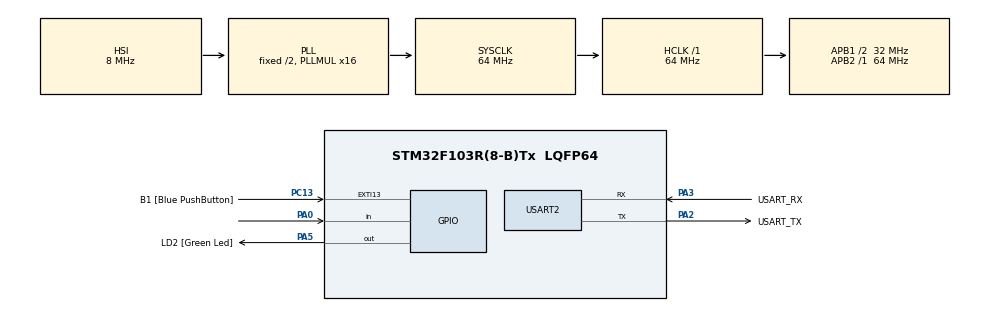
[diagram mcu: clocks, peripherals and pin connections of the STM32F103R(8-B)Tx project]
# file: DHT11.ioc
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Mcu.Family=STM32F1
Mcu.Name=STM32F103R(8-B)Tx
Mcu.Package=LQFP64
NVIC.EXTI15_10_IRQn=true\:0\:0\:false\:false\:true\:true\:true\:true
NVIC.PriorityGroup=NVIC_PRIORITYGROUP_4
PA0-WKUP.Signal=GPIO_Input
PA13.GPIO_Label=TMS
PA13.Mode=Serial_Wire
PA13.Signal=SYS_JTMS-SWDIO
PA14.GPIO_Label=TCK
PA14.Mode=Serial_Wire
PA14.Signal=SYS_JTCK-SWCLK
PA2.GPIO_Label=USART_TX
PA2.GPIO_Mode=GPIO_MODE_AF_PP
PA2.GPIO_PuPd=GPIO_NOPULL
PA2.GPIO_Speed=GPIO_SPEED_FREQ_LOW
PA2.Mode=Asynchronous
PA2.Signal=USART2_TX
PA3.GPIO_Label=USART_RX
PA3.GPIO_Mode=GPIO_MODE_AF_PP
PA3.GPIO_PuPd=GPIO_NOPULL
PA3.GPIO_Speed=GPIO_SPEED_FREQ_LOW
PA3.Mode=Asynchronous
PA3.Signal=USART2_RX
PA5.GPIO_Label=LD2 [Green Led]
PA5.GPIO_ModeDefaultOutputPP=GPIO_MODE_OUTPUT_PP
PA5.GPIO_PuPd=GPIO_NOPULL
PA5.GPIO_Speed=GPIO_SPEED_FREQ_LOW
PA5.Signal=GPIO_Output
PB3.GPIO_Label=SWO
PB3.Signal=SYS_JTDO-TRACESWO
PC13-TAMPER-RTC.GPIO_Label=B1 [Blue PushButton]
PC13-TAMPER-RTC.GPIO_PuPd=GPIO_NOPULL
PC13-TAMPER-RTC.Signal=GPXTI13
PC14-OSC32_IN.Signal=RCC_OSC32_IN
PC15-OSC32_OUT.Signal=RCC_OSC32_OUT
PD0-OSC_IN.Signal=RCC_OSC_IN
PD1-OSC_OUT.Signal=RCC_OSC_OUT
ProjectManager.HeapSize=0x200
ProjectManager.StackSize=0x400
ProjectManager.TargetToolchain=STM32CubeIDE
RCC.AHBFreq_Value=64000000
RCC.APB1CLKDivider=RCC_HCLK_DIV2
RCC.APB1Freq_Value=32000000
RCC.APB1TimFreq_Value=64000000
RCC.APB2Freq_Value=64000000
RCC.APB2TimFreq_Value=64000000
RCC.HCLKFreq_Value=64000000
RCC.PLLMUL=RCC_PLL_MUL16
RCC.RTCClockSelection=RCC_RTCCLKSOURCE_LSE
RCC.SYSCLKFreq_VALUE=64000000
RCC.SYSCLKSource=RCC_SYSCLKSOURCE_PLLCLK
RCC.USBFreq_Value=64000000
TIM2.Prescaler=64-1
USART2.VirtualMode=VM_ASYNC
VP_TIM2_VS_ClockSourceINT.Mode=Internal
board=NUCLEO-F103RB

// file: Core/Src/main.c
/* USER CODE BEGIN Header */
/**
  ******************************************************************************
  * @file           : main.c
  * @brief          : Main program body
  ******************************************************************************
  * @attention
  *
  * Copyright (c) 2025 STMicroelectronics.
  * All rights reserved.
  *
  * This software is licensed under terms that can be found in the LICENSE file
  * in the root directory of this software component.
  * If no LICENSE file comes with this software, it is provided AS-IS.
  *
  ******************************************************************************
  */
/* USER CODE END Header */
#include "main.h"

/* USER CODE BEGIN Includes */
#include <stdio.h>
#include <string.h>
/* USER CODE END Includes */

/* USER CODE BEGIN PTD */
typedef struct {
    uint8_t temperature;
    uint8_t humidity;
    uint8_t temp_decimal;
    uint8_t hum_decimal;
    uint8_t checksum;
} DHT11_Data;
/* USER CODE END PTD */

/* USER CODE BEGIN PD */

#define DHT11_PORT GPIOA
#define DHT11_PIN GPIO_PIN_0
/* USER CODE END PD */

TIM_HandleTypeDef htim2;

UART_HandleTypeDef huart2;

/* USER CODE BEGIN PV */
DHT11_Data dht11_data;
char uart_buffer[100];  // uart_buffer 변수 선언 추가
/* USER CODE END PV */

void SystemClock_Config(void);
static void MX_GPIO_Init(void);
static void MX_USART2_UART_Init(void);
static void MX_TIM2_Init(void);
/* USER CODE BEGIN PFP */
void DHT11_SetPinOutput(void);
void DHT11_SetPinInput(void);
void DHT11_SetPin(GPIO_PinState state);
GPIO_PinState DHT11_ReadPin(void);
void DHT11_DelayUs(uint32_t us);
uint8_t DHT11_Start(void);
uint8_t DHT11_ReadBit(void);
uint8_t DHT11_ReadByte(void);
uint8_t DHT11_ReadData(DHT11_Data *data);
/* USER CODE END PFP */

/* USER CODE BEGIN 0 */
#ifdef __GNUC__
/* With GCC, small printf (option LD Linker->Libraries->Small printf
   set to 'Yes') calls __io_putchar() */
#define PUTCHAR_PROTOTYPE int __io_putchar(int ch)
#else
#define PUTCHAR_PROTOTYPE int fputc(int ch, FILE *f)
#endif /* __GNUC__ */

/**
  * @brief  Retargets the C library printf function to the USART.
  * @param  None
  * @retval None
  */
PUTCHAR_PROTOTYPE
{
  /* Place your implementation of fputc here */
  /* e.g. write a character to the USART1 and Loop until the end of transmission */
  if (ch == '\n')
    HAL_UART_Transmit (&huart2, (uint8_t*) "\r", 1, 0xFFFF);
  HAL_UART_Transmit (&huart2, (uint8_t*) &ch, 1, 0xFFFF);

  return ch;
}
// DHT11 함수 구현
void DHT11_SetPinOutput(void) {
    GPIO_InitTypeDef GPIO_InitStruct = {0};
    GPIO_InitStruct.Pin = DHT11_PIN;
    GPIO_InitStruct.Mode = GPIO_MODE_OUTPUT_PP;
    GPIO_InitStruct.Pull = GPIO_NOPULL;
    GPIO_InitStruct.Speed = GPIO_SPEED_FREQ_HIGH;
    HAL_GPIO_Init(DHT11_PORT, &GPIO_InitStruct);
}

void DHT11_SetPinInput(void) {
    GPIO_InitTypeDef GPIO_InitStruct = {0};
    GPIO_InitStruct.Pin = DHT11_PIN;
    GPIO_InitStruct.Mode = GPIO_MODE_INPUT;
    GPIO_InitStruct.Pull = GPIO_PULLUP;
    HAL_GPIO_Init(DHT11_PORT, &GPIO_InitStruct);
}

void DHT11_SetPin(GPIO_PinState state) {
    HAL_GPIO_WritePin(DHT11_PORT, DHT11_PIN, state);
}

GPIO_PinState DHT11_ReadPin(void) {
    return HAL_GPIO_ReadPin(DHT11_PORT, DHT11_PIN);
}

void DHT11_DelayUs(uint32_t us) {
    __HAL_TIM_SET_COUNTER(&htim2, 0);
    while (__HAL_TIM_GET_COUNTER(&htim2) < us);
}

uint8_t DHT11_Start(void) {
    uint8_t response = 0;

    // 출력 모드로 설정
    DHT11_SetPinOutput();

    // 시작 신호 전송 (18ms LOW)
    DHT11_SetPin(GPIO_PIN_RESET);
    HAL_Delay(20);  // 18ms -> 20ms로 변경 (더 안정적)

    // HIGH로 변경 후 20-40us 대기
    DHT11_SetPin(GPIO_PIN_SET);
    DHT11_DelayUs(30);

    // 입력 모드로 변경
    DHT11_SetPinInput();

    // DHT11 응답 확인 (80us LOW + 80us HIGH)
    DHT11_DelayUs(40);

    if (!(DHT11_ReadPin())) {
        DHT11_DelayUs(80);
        if (DHT11_ReadPin()) {
            response = 1;
        } else {
            response = 0;
        }
    }

    // HIGH가 끝날 때까지 대기
    while (DHT11_ReadPin());

    return response;
}

uint8_t DHT11_ReadBit(void) {
    // LOW 신호가 끝날 때까지 대기 (50us)
    while (!(DHT11_ReadPin()));

    // HIGH 신호 시작 후 30us 대기
    DHT11_DelayUs(30);

    // 여전히 HIGH면 1, LOW면 0
    if (DHT11_ReadPin()) {
        // HIGH가 끝날 때까지 대기
        while (DHT11_ReadPin());
        return 1;
    } else {
        return 0;
    }
}

uint8_t DHT11_ReadByte(void) {
    uint8_t byte = 0;
    for (int i = 0; i < 8; i++) {
        byte = (byte << 1) | DHT11_ReadBit();
    }
    return byte;
}

uint8_t DHT11_ReadData(DHT11_Data *data) {
    if (!DHT11_Start()) {
        return 0; // 시작 신호 실패
    }

    // 5바이트 데이터 읽기
    data->humidity = DHT11_ReadByte();
    data->hum_decimal = DHT11_ReadByte();
    data->temperature = DHT11_ReadByte();
    data->temp_decimal = DHT11_ReadByte();
    data->checksum = DHT11_ReadByte();

    // 체크섬 확인
    uint8_t calculated_checksum = data->humidity + data->hum_decimal +
                                 data->temperature + data->temp_decimal;

    if (calculated_checksum == data->checksum) {
        return 1; // 성공
    } else {
        return 0; // 체크섬 오류
    }
}
/* USER CODE END 0 */

int main(void)
{

  /* MCU Configuration--------------------------------------------------------*/

  /* Reset of all peripherals, Initializes the Flash interface and the Systick. */
  HAL_Init();

  /* Configure the system clock */
  SystemClock_Config();

  /* Initialize all configured peripherals */
  MX_GPIO_Init();
  MX_USART2_UART_Init();
  MX_TIM2_Init();
  /* USER CODE BEGIN 2 */
  // 타이머 시작 (마이크로초 단위 지연용)
  HAL_TIM_Base_Start(&htim2);

  // UART 초기화 메시지
  sprintf(uart_buffer, "DHT11 Temperature & Humidity Sensor Test\r\n");
  HAL_UART_Transmit(&huart2, (uint8_t*)uart_buffer, strlen(uart_buffer), HAL_MAX_DELAY);
  /* USER CODE END 2 */

  /* Infinite loop */
  while (1)
  {

    /* USER CODE BEGIN 3 */
	  if (DHT11_ReadData(&dht11_data)) {
	 	      // 데이터 읽기 성공
	 	      sprintf(uart_buffer, "Temperature: %d°C, Humidity: %d%%\r\n",
	 	              dht11_data.temperature, dht11_data.humidity);
	 	      HAL_UART_Transmit(&huart2, (uint8_t*)uart_buffer, strlen(uart_buffer), HAL_MAX_DELAY);
	 	    } else {
	 	      // 데이터 읽기 실패
	 	      sprintf(uart_buffer, "DHT11 Read Error!\r\n");
	 	      HAL_UART_Transmit(&huart2, (uint8_t*)uart_buffer, strlen(uart_buffer), HAL_MAX_DELAY);
	 	    }

	 	    // 2초 대기 (DHT11은 최소 2초 간격으로 읽어야 함)
	 	    HAL_Delay(2000);

	 	  }
  /* USER CODE END 3 */
}

void SystemClock_Config(void)
{
  RCC_OscInitTypeDef RCC_OscInitStruct = {0};
  RCC_ClkInitTypeDef RCC_ClkInitStruct = {0};

  /** Initializes the RCC Oscillators according to the specified parameters
  * in the RCC_OscInitTypeDef structure.
  */
  RCC_OscInitStruct.OscillatorType = RCC_OSCILLATORTYPE_HSI;
  RCC_OscInitStruct.HSIState = RCC_HSI_ON;
  RCC_OscInitStruct.HSICalibrationValue = RCC_HSICALIBRATION_DEFAULT;
  RCC_OscInitStruct.PLL.PLLState = RCC_PLL_ON;
  RCC_OscInitStruct.PLL.PLLSource = RCC_PLLSOURCE_HSI_DIV2;
  RCC_OscInitStruct.PLL.PLLMUL = RCC_PLL_MUL16;
  if (HAL_RCC_OscConfig(&RCC_OscInitStruct) != HAL_OK)
  {
    Error_Handler();
  }

  /** Initializes the CPU, AHB and APB buses clocks
  */
  RCC_ClkInitStruct.ClockType = RCC_CLOCKTYPE_HCLK|RCC_CLOCKTYPE_SYSCLK
                              |RCC_CLOCKTYPE_PCLK1|RCC_CLOCKTYPE_PCLK2;
  RCC_ClkInitStruct.SYSCLKSource = RCC_SYSCLKSOURCE_PLLCLK;
  RCC_ClkInitStruct.AHBCLKDivider = RCC_SYSCLK_DIV1;
  RCC_ClkInitStruct.APB1CLKDivider = RCC_HCLK_DIV2;
  RCC_ClkInitStruct.APB2CLKDivider = RCC_HCLK_DIV1;

  if (HAL_RCC_ClockConfig(&RCC_ClkInitStruct, FLASH_LATENCY_2) != HAL_OK)
  {
    Error_Handler();
  }
}

static void MX_TIM2_Init(void)
{

  TIM_ClockConfigTypeDef sClockSourceConfig = {0};
  TIM_MasterConfigTypeDef sMasterConfig = {0};

  htim2.Instance = TIM2;
  htim2.Init.Prescaler = 64-1;
  htim2.Init.CounterMode = TIM_COUNTERMODE_UP;
  htim2.Init.Period = 65535;
  htim2.Init.ClockDivision = TIM_CLOCKDIVISION_DIV1;
  htim2.Init.AutoReloadPreload = TIM_AUTORELOAD_PRELOAD_DISABLE;
  if (HAL_TIM_Base_Init(&htim2) != HAL_OK)
  {
    Error_Handler();
  }
  sClockSourceConfig.ClockSource = TIM_CLOCKSOURCE_INTERNAL;
  if (HAL_TIM_ConfigClockSource(&htim2, &sClockSourceConfig) != HAL_OK)
  {
    Error_Handler();
  }
  sMasterConfig.MasterOutputTrigger = TIM_TRGO_RESET;
  sMasterConfig.MasterSlaveMode = TIM_MASTERSLAVEMODE_DISABLE;
  if (HAL_TIMEx_MasterConfigSynchronization(&htim2, &sMasterConfig) != HAL_OK)
  {
    Error_Handler();
  }

}

static void MX_USART2_UART_Init(void)
{

  huart2.Instance = USART2;
  huart2.Init.BaudRate = 115200;
  huart2.Init.WordLength = UART_WORDLENGTH_8B;
  huart2.Init.StopBits = UART_STOPBITS_1;
  huart2.Init.Parity = UART_PARITY_NONE;
  huart2.Init.Mode = UART_MODE_TX_RX;
  huart2.Init.HwFlowCtl = UART_HWCONTROL_NONE;
  huart2.Init.OverSampling = UART_OVERSAMPLING_16;
  if (HAL_UART_Init(&huart2) != HAL_OK)
  {
    Error_Handler();
  }

}

static void MX_GPIO_Init(void)
{
  GPIO_InitTypeDef GPIO_InitStruct = {0};

  /* GPIO Ports Clock Enable */
  __HAL_RCC_GPIOC_CLK_ENABLE();
  __HAL_RCC_GPIOD_CLK_ENABLE();
  __HAL_RCC_GPIOA_CLK_ENABLE();
  __HAL_RCC_GPIOB_CLK_ENABLE();

  /*Configure GPIO pin Output Level */
  HAL_GPIO_WritePin(LD2_GPIO_Port, LD2_Pin, GPIO_PIN_RESET);

  /*Configure GPIO pin : B1_Pin */
  GPIO_InitStruct.Pin = B1_Pin;
  GPIO_InitStruct.Mode = GPIO_MODE_IT_RISING;
  GPIO_InitStruct.Pull = GPIO_NOPULL;
  HAL_GPIO_Init(B1_GPIO_Port, &GPIO_InitStruct);

  /*Configure GPIO pin : PA0 */
  GPIO_InitStruct.Pin = GPIO_PIN_0;
  GPIO_InitStruct.Mode = GPIO_MODE_INPUT;
  GPIO_InitStruct.Pull = GPIO_NOPULL;
  HAL_GPIO_Init(GPIOA, &GPIO_InitStruct);

  /*Configure GPIO pin : LD2_Pin */
  GPIO_InitStruct.Pin = LD2_Pin;
  GPIO_InitStruct.Mode = GPIO_MODE_OUTPUT_PP;
  GPIO_InitStruct.Pull = GPIO_NOPULL;
  GPIO_InitStruct.Speed = GPIO_SPEED_FREQ_LOW;
  HAL_GPIO_Init(LD2_GPIO_Port, &GPIO_InitStruct);

  /* EXTI interrupt init*/
  HAL_NVIC_SetPriority(EXTI15_10_IRQn, 0, 0);
  HAL_NVIC_EnableIRQ(EXTI15_10_IRQn);

}

void Error_Handler(void)
{
  __disable_irq();
  while (1)
  {
  }
}
